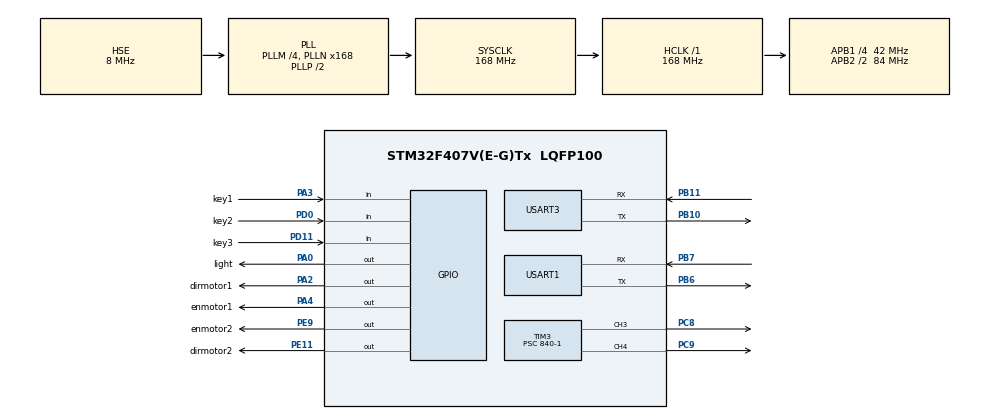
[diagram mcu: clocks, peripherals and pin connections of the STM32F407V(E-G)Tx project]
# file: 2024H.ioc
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Mcu.Family=STM32F4
Mcu.Name=STM32F407V(E-G)Tx
Mcu.Package=LQFP100
Mcu.UserConstants=motor_usart,$$_USART3_IP_HANDLE_$$
NVIC.PriorityGroup=NVIC_PRIORITYGROUP_4
NVIC.TIM3_IRQn=true\:0\:0\:false\:false\:true\:true\:true\:true
NVIC.TIM8_TRG_COM_TIM14_IRQn=true\:1\:0\:true\:false\:true\:false\:true\:true
NVIC.TimeBase=TIM8_TRG_COM_TIM14_IRQn
NVIC.TimeBaseIP=TIM14
NVIC.USART1_IRQn=true\:3\:0\:true\:false\:true\:true\:true\:true
NVIC.USART3_IRQn=true\:2\:0\:true\:false\:true\:true\:true\:true
PA0-WKUP.GPIO_Label=light
PA0-WKUP.GPIO_ModeDefaultOutputPP=GPIO_MODE_OUTPUT_PP
PA0-WKUP.GPIO_PuPd=GPIO_PULLUP
PA0-WKUP.GPIO_Speed=GPIO_SPEED_FREQ_MEDIUM
PA0-WKUP.Signal=GPIO_Output
PA13.Mode=Serial_Wire
PA13.Signal=SYS_JTMS-SWDIO
PA14.Mode=Serial_Wire
PA14.Signal=SYS_JTCK-SWCLK
PA2.GPIO_Label=dirmotor1
PA2.GPIO_ModeDefaultOutputPP=GPIO_MODE_OUTPUT_PP
PA2.GPIO_PuPd=GPIO_PULLDOWN
PA2.GPIO_Speed=GPIO_SPEED_FREQ_MEDIUM
PA2.PinState=GPIO_PIN_RESET
PA2.Signal=GPIO_Output
PA3.GPIO_Label=key1
PA3.GPIO_PuPd=GPIO_PULLUP
PA3.Signal=GPIO_Input
PA4.GPIO_Label=enmotor1
PA4.GPIO_ModeDefaultOutputPP=GPIO_MODE_OUTPUT_PP
PA4.GPIO_PuPd=GPIO_PULLDOWN
PA4.GPIO_Speed=GPIO_SPEED_FREQ_MEDIUM
PA4.PinState=GPIO_PIN_RESET
PA4.Signal=GPIO_Output
PB10.Mode=Asynchronous
PB10.Signal=USART3_TX
PB11.Mode=Asynchronous
PB11.Signal=USART3_RX
PB6.Mode=Asynchronous
PB6.Signal=USART1_TX
PB7.Mode=Asynchronous
PB7.Signal=USART1_RX
PC8.Signal=S_TIM3_CH3
PC9.Signal=S_TIM3_CH4
PD0.GPIO_Label=key2
PD0.GPIO_Mode=GPIO_MODE_INPUT
PD0.GPIO_PuPd=GPIO_PULLDOWN
PD0.Signal=GPIO_Input
PD11.GPIO_Label=key3
PD11.GPIO_Mode=GPIO_MODE_INPUT
PD11.GPIO_PuPd=GPIO_PULLDOWN
PD11.Signal=GPIO_Input
PE11.GPIO_Label=dirmotor2
PE11.GPIO_ModeDefaultOutputPP=GPIO_MODE_OUTPUT_PP
PE11.GPIO_PuPd=GPIO_PULLDOWN
PE11.GPIO_Speed=GPIO_SPEED_FREQ_MEDIUM
PE11.PinState=GPIO_PIN_RESET
PE11.Signal=GPIO_Output
PE9.GPIO_Label=enmotor2
PE9.GPIO_ModeDefaultOutputPP=GPIO_MODE_OUTPUT_PP
PE9.GPIO_PuPd=GPIO_PULLDOWN
PE9.GPIO_Speed=GPIO_SPEED_FREQ_MEDIUM
PE9.PinState=GPIO_PIN_RESET
PE9.Signal=GPIO_Output
PH0-OSC_IN.Mode=HSE-External-Oscillator
PH0-OSC_IN.Signal=RCC_OSC_IN
PH1-OSC_OUT.Mode=HSE-External-Oscillator
PH1-OSC_OUT.Signal=RCC_OSC_OUT
ProjectManager.HeapSize=0x200
ProjectManager.StackSize=0x400
ProjectManager.TargetToolchain=MDK-ARM V5.32
RCC.48MHZClocksFreq_Value=84000000
RCC.AHBFreq_Value=168000000
RCC.APB1CLKDivider=RCC_HCLK_DIV4
RCC.APB1Freq_Value=42000000
RCC.APB1TimFreq_Value=84000000
RCC.APB2CLKDivider=RCC_HCLK_DIV2
RCC.APB2Freq_Value=84000000
RCC.APB2TimFreq_Value=168000000
RCC.CortexFreq_Value=168000000
RCC.HCLKFreq_Value=168000000
RCC.HSE_VALUE=8000000
RCC.HSI_VALUE=16000000
RCC.LSE_VALUE=32768
RCC.PLLM=4
RCC.PLLN=168
RCC.PLLSourceVirtual=RCC_PLLSOURCE_HSE
RCC.SYSCLKFreq_VALUE=168000000
RCC.SYSCLKSource=RCC_SYSCLKSOURCE_PLLCLK
RCC.VCOOutputFreq_Value=336000000
SH.S_TIM3_CH3.0=TIM3_CH3,PWM Generation3 CH3
SH.S_TIM3_CH4.0=TIM3_CH4,PWM Generation4 CH4
TIM3.Channel-PWM\ Generation3\ CH3=TIM_CHANNEL_3
TIM3.Channel-PWM\ Generation4\ CH4=TIM_CHANNEL_4
TIM3.Period=1000-1
TIM3.Prescaler=840-1
USART1.VirtualMode=VM_ASYNC
USART3.VirtualMode=VM_ASYNC
VP_SYS_VS_tim14.Mode=TIM14
VP_TIM3_VS_ClockSourceINT.Mode=Internal
board=custom

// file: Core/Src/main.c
/* USER CODE BEGIN Header */
/**
  ******************************************************************************
  * @file           : main.c
  * @brief          : Main program body
  ******************************************************************************
  * @attention
  *
  * Copyright (c) 2025 STMicroelectronics.
  * All rights reserved.
  *
  * This software is licensed under terms that can be found in the LICENSE file
  * in the root directory of this software component.
  * If no LICENSE file comes with this software, it is provided AS-IS.
  *
  ******************************************************************************
  */
/* USER CODE END Header */
#include "main.h"
#include "tim.h"
#include "usart.h"
#include "gpio.h"

/* USER CODE BEGIN Includes */
#include "Car.h"
#include "stepper_motor.h"
#include "k230.h"

/* USER CODE END Includes */

void SystemClock_Config(void);

/* USER CODE BEGIN 0 */
uint8_t flag = 0;
float angle;
/* USER CODE END 0 */

int main(void)
{

  /* MCU Configuration--------------------------------------------------------*/

  /* Reset of all peripherals, Initializes the Flash interface and the Systick. */
  HAL_Init();

  /* Configure the system clock */
  SystemClock_Config();

  /* Initialize all configured peripherals */
  MX_GPIO_Init();
  MX_USART3_UART_Init();
  MX_TIM3_Init();
  MX_USART1_UART_Init();
  /* USER CODE BEGIN 2 */
    __HAL_UART_ENABLE_IT(&huart1, UART_IT_IDLE);
    HAL_UART_Receive_IT(&huart1, (uint8_t*)k230rxdata, 30);
    HAL_Delay(1000);
    vision_track.xset = 200;
    vision_track.yset = 120;
//    task1();

       Car_Init();
  /* USER CODE END 2 */

  /* Infinite loop */
  /* USER CODE BEGIN WHILE */
  while (1)
  {

      Vision_dealdata();
      Vision_Track();

      if(leftflag == 1)
      {
          leftflag =   0;
          SetMotor_SetSpeed(0x02, -8, 0);
      }
      if(rightflag == 1)
      {
          rightflag = 0;
          SetMotor_SetSpeed(0x02, 8, 0);
      }
      HAL_Delay(50);

      if(flag == 1)
      {
          SetMotor_SetLocation2(0x01, 20, 5, -500);
          flag = 0;
      }
      else if(flag == 2)
      {
          StMotor_Setzero(0x02);
          flag = 0;
      }
      else if(flag == 3)
      {
          SetMotor_SetLocation2(0x01, 20, 5, 500);
          flag = 0;
      }
      else if(flag == 4)
      {
          char ans = 'r';
          HAL_UART_Transmit(&huart1, (uint8_t*)&ans, 1, 50);
          flag = 0;
      }
      else if(flag == 5)
      {
          SetMotor_SetLocation2(0x02, 20, 5, -1000);
          flag = 0;
      }
      else if(flag == 6)
      {
          SetMotor_SetLocation2(0x02, 20, 5, 1000);
          flag = 0;
      }
      else if(flag == 7)
      {
          StMotor_Returnzero(2);
          flag = 0;
      }
      else if(flag == 8)
      {
          StMotor_Returnzero(1);
          flag = 0;
      }

      else if(flag == 9)
      {
          StMotor_Setzero(0x01);
          flag = 0;
      }

    /* USER CODE END WHILE */

  }
}

void SystemClock_Config(void)
{
  RCC_OscInitTypeDef RCC_OscInitStruct = {0};
  RCC_ClkInitTypeDef RCC_ClkInitStruct = {0};

  /** Configure the main internal regulator output voltage
  */
  __HAL_RCC_PWR_CLK_ENABLE();
  __HAL_PWR_VOLTAGESCALING_CONFIG(PWR_REGULATOR_VOLTAGE_SCALE1);

  /** Initializes the RCC Oscillators according to the specified parameters
  * in the RCC_OscInitTypeDef structure.
  */
  RCC_OscInitStruct.OscillatorType = RCC_OSCILLATORTYPE_HSE;
  RCC_OscInitStruct.HSEState = RCC_HSE_ON;
  RCC_OscInitStruct.PLL.PLLState = RCC_PLL_ON;
  RCC_OscInitStruct.PLL.PLLSource = RCC_PLLSOURCE_HSE;
  RCC_OscInitStruct.PLL.PLLM = 4;
  RCC_OscInitStruct.PLL.PLLN = 168;
  RCC_OscInitStruct.PLL.PLLP = RCC_PLLP_DIV2;
  RCC_OscInitStruct.PLL.PLLQ = 4;
  if (HAL_RCC_OscConfig(&RCC_OscInitStruct) != HAL_OK)
  {
    Error_Handler();
  }

  /** Initializes the CPU, AHB and APB buses clocks
  */
  RCC_ClkInitStruct.ClockType = RCC_CLOCKTYPE_HCLK|RCC_CLOCKTYPE_SYSCLK
                              |RCC_CLOCKTYPE_PCLK1|RCC_CLOCKTYPE_PCLK2;
  RCC_ClkInitStruct.SYSCLKSource = RCC_SYSCLKSOURCE_PLLCLK;
  RCC_ClkInitStruct.AHBCLKDivider = RCC_SYSCLK_DIV1;
  RCC_ClkInitStruct.APB1CLKDivider = RCC_HCLK_DIV4;
  RCC_ClkInitStruct.APB2CLKDivider = RCC_HCLK_DIV2;

  if (HAL_RCC_ClockConfig(&RCC_ClkInitStruct, FLASH_LATENCY_5) != HAL_OK)
  {
    Error_Handler();
  }
}

void HAL_TIM_PeriodElapsedCallback(TIM_HandleTypeDef *htim)
{
  if (htim->Instance == TIM14)
  {
    HAL_IncTick();
  }
  /* USER CODE BEGIN Callback 1 */
    if(htim->Instance == TIM3)
    {
        if(vision_pidx.activeflag == 1)
        {
            vision_pidx.output--;
            if(vision_pidx.output == 0)
            {
                vision_pidx.activeflag = 0;
                HAL_TIM_PWM_Stop_IT(&htim3, TIM_CHANNEL_3);
            }

        }
        if(vision_pidy.activeflag == 1)
        {
            vision_pidy.output--;
            if(vision_pidy.output == 0)
            {
                vision_pidy.activeflag = 0;
                HAL_TIM_PWM_Stop_IT(&htim3, TIM_CHANNEL_4);
            }

        }

    }
  /* USER CODE END Callback 1 */
}

void Error_Handler(void)
{
  __disable_irq();
  while (1)
  {
  }
}
